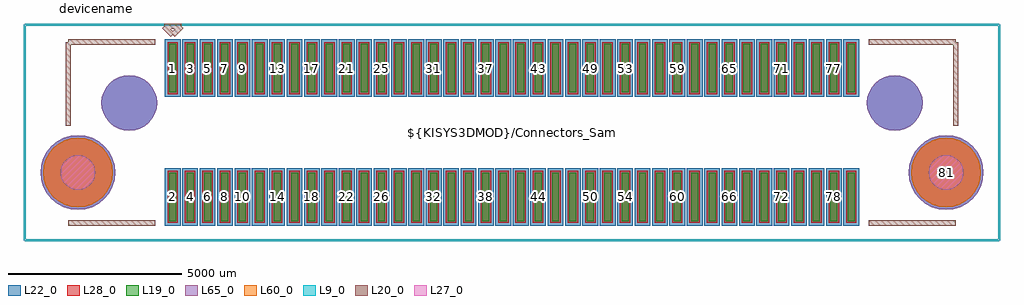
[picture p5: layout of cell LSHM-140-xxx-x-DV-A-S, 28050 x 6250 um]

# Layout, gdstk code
import gdstk
lib = gdstk.Library(unit=1e-6, precision=1e-09)
def R(c, l, rs):  # rectangles x0, y0, x1, y1
    for r in rs: c.add(gdstk.rectangle(r[:2], r[2:], *l))
def A(c, l, x, y, w, h, nx, ny, dx, dy):  # array of equal rectangles
    R(c, l, [(x+i*dx, y+j*dy, x+i*dx+w, y+j*dy+h) for i in range(nx) for j in range(ny)])
def P(c, l, *ps):  # polygons
    for p in ps: c.add(gdstk.Polygon(p, *l))
L9_0 = (9, 0)
L19_0 = (19, 0)
L20_0 = (20, 0)
L22_0 = (22, 0)
L27_0 = (27, 0)
L28_0 = (28, 0)
L60_0 = (60, 0)
L65_0 = (65, 0)

lshm_140_xxx_x_dv_a_s = lib.new_cell('LSHM-140-xxx-x-DV-A-S')
A(lshm_140_xxx_x_dv_a_s, L19_0, -9850, -2550, 200, 1400, 40, 2, 500, 3700)
A(lshm_140_xxx_x_dv_a_s, L22_0, -9975, -2675, 450, 1650, 40, 2, 500, 3700)
P(lshm_140_xxx_x_dv_a_s, L22_0, [(-10200,850),(-10215.372,1006.072),(-10260.896,1156.147),(-10334.824,1294.456),(-10434.315,1415.685),(-10555.544,1515.176),(-10693.853,1589.104),(-10843.928,1634.628),(-11000,1650),(-11156.072,1634.628),(-11306.147,1589.104),(-11444.456,1515.176),(-11565.685,1415.685),(-11665.176,1294.456),(-11739.104,1156.147),(-11784.628,1006.072),(-11800,850),(-11784.628,693.928),(-11739.104,543.853),(-11665.176,405.544),(-11565.685,284.315),(-11444.456,184.824),(-11306.147,110.896),(-11156.072,65.372),(-11000,50),(-10843.928,65.372),(-10693.853,110.896),(-10555.544,184.824),(-10434.315,284.315),(-10334.824,405.544),(-10260.896,543.853),(-10215.372,693.928)],
  [(-11400,-1150),(-11420.656,-940.278),(-11481.83,-738.615),(-11581.17,-552.762),(-11714.86,-389.86),(-11877.762,-256.17),(-12063.615,-156.83),(-12265.278,-95.656),(-12475,-75),(-12684.722,-95.656),(-12886.385,-156.83),(-13072.238,-256.17),(-13235.14,-389.86),(-13368.83,-552.762),(-13468.17,-738.615),(-13529.344,-940.278),(-13550,-1150),(-13529.344,-1359.722),(-13468.17,-1561.385),(-13368.83,-1747.238),(-13235.14,-1910.14),(-13072.238,-2043.83),(-12886.385,-2143.17),(-12684.722,-2204.344),(-12475,-2225),(-12265.278,-2204.344),(-12063.615,-2143.17),(-11877.762,-2043.83),(-11714.86,-1910.14),(-11581.17,-1747.238),(-11481.83,-1561.385),(-11420.656,-1359.722)],
  [(13550,-1150),(13529.344,-940.278),(13468.17,-738.615),(13368.83,-552.762),(13235.14,-389.86),(13072.238,-256.17),(12886.385,-156.83),(12684.722,-95.656),(12475,-75),(12265.278,-95.656),(12063.615,-156.83),(11877.762,-256.17),(11714.86,-389.86),(11581.17,-552.762),(11481.83,-738.615),(11420.656,-940.278),(11400,-1150),(11420.656,-1359.722),(11481.83,-1561.385),(11581.17,-1747.238),(11714.86,-1910.14),(11877.762,-2043.83),(12063.615,-2143.17),(12265.278,-2204.344),(12475,-2225),(12684.722,-2204.344),(12886.385,-2143.17),(13072.238,-2043.83),(13235.14,-1910.14),(13368.83,-1747.238),(13468.17,-1561.385),(13529.344,-1359.722)],
  [(11800,850),(11784.628,1006.072),(11739.104,1156.147),(11665.176,1294.456),(11565.685,1415.685),(11444.456,1515.176),(11306.147,1589.104),(11156.072,1634.628),(11000,1650),(10843.928,1634.628),(10693.853,1589.104),(10555.544,1515.176),(10434.315,1415.685),(10334.824,1294.456),(10260.896,1156.147),(10215.372,1006.072),(10200,850),(10215.372,693.928),(10260.896,543.853),(10334.824,405.544),(10434.315,284.315),(10555.544,184.824),(10693.853,110.896),(10843.928,65.372),(11000,50),(11156.072,65.372),(11306.147,110.896),(11444.456,184.824),(11565.685,284.315),(11665.176,405.544),(11739.104,543.853),(11784.628,693.928)])
P(lshm_140_xxx_x_dv_a_s, L27_0, [(-11975.001,-1150),(-11984.608,-1052.455),(-12013.061,-958.659),(-12059.266,-872.215),(-12121.447,-796.447),(-12197.215,-734.266),(-12283.659,-688.061),(-12377.455,-659.608),(-12475,-650.001),(-12572.545,-659.608),(-12666.341,-688.061),(-12752.785,-734.266),(-12828.553,-796.447),(-12890.734,-872.215),(-12936.939,-958.659),(-12965.392,-1052.455),(-12974.999,-1150),(-12965.392,-1247.545),(-12936.939,-1341.341),(-12890.734,-1427.785),(-12828.553,-1503.553),(-12752.785,-1565.734),(-12666.341,-1611.939),(-12572.545,-1640.392),(-12475,-1649.999),(-12377.455,-1640.392),(-12283.659,-1611.939),(-12197.215,-1565.734),(-12121.447,-1503.553),(-12059.266,-1427.785),(-12013.061,-1341.341),(-11984.608,-1247.545)],
  [(12974.999,-1150),(12965.392,-1052.455),(12936.939,-958.659),(12890.734,-872.215),(12828.553,-796.447),(12752.785,-734.266),(12666.341,-688.061),(12572.545,-659.608),(12475,-650.001),(12377.455,-659.608),(12283.659,-688.061),(12197.215,-734.266),(12121.447,-796.447),(12059.266,-872.215),(12013.061,-958.659),(11984.608,-1052.455),(11975.001,-1150),(11984.608,-1247.545),(12013.061,-1341.341),(12059.266,-1427.785),(12121.447,-1503.553),(12197.215,-1565.734),(12283.659,-1611.939),(12377.455,-1640.392),(12475,-1649.999),(12572.545,-1640.392),(12666.341,-1611.939),(12752.785,-1565.734),(12828.553,-1503.553),(12890.734,-1427.785),(12936.939,-1341.341),(12965.392,-1247.545)])
A(lshm_140_xxx_x_dv_a_s, L28_0, -9900, -2600, 300, 1500, 40, 2, 500, 3700)
P(lshm_140_xxx_x_dv_a_s, L28_0, [(-11475,-1150),(-11494.215,-954.91),(-11551.12,-767.317),(-11643.53,-594.43),(-11767.893,-442.893),(-11919.43,-318.53),(-12092.317,-226.12),(-12279.91,-169.215),(-12475,-150),(-12670.09,-169.215),(-12857.683,-226.12),(-13030.57,-318.53),(-13182.107,-442.893),(-13306.47,-594.43),(-13398.88,-767.317),(-13455.785,-954.91),(-13475,-1150),(-13455.785,-1345.09),(-13398.88,-1532.683),(-13306.47,-1705.57),(-13182.107,-1857.107),(-13030.57,-1981.47),(-12857.683,-2073.88),(-12670.09,-2130.785),(-12475,-2150),(-12279.91,-2130.785),(-12092.317,-2073.88),(-11919.43,-1981.47),(-11767.893,-1857.107),(-11643.53,-1705.57),(-11551.12,-1532.683),(-11494.215,-1345.09)],
  [(13475,-1150),(13455.785,-954.91),(13398.88,-767.317),(13306.47,-594.43),(13182.107,-442.893),(13030.57,-318.53),(12857.683,-226.12),(12670.09,-169.215),(12475,-150),(12279.91,-169.215),(12092.317,-226.12),(11919.43,-318.53),(11767.893,-442.893),(11643.53,-594.43),(11551.12,-767.317),(11494.215,-954.91),(11475,-1150),(11494.215,-1345.09),(11551.12,-1532.683),(11643.53,-1705.57),(11767.893,-1857.107),(11919.43,-1981.47),(12092.317,-2073.88),(12279.91,-2130.785),(12475,-2150),(12670.09,-2130.785),(12857.683,-2073.88),(13030.57,-1981.47),(13182.107,-1857.107),(13306.47,-1705.57),(13398.88,-1532.683),(13455.785,-1345.09)])
P(lshm_140_xxx_x_dv_a_s, L60_0, [(-11475,-1150),(-11494.215,-954.91),(-11551.12,-767.317),(-11643.53,-594.43),(-11767.893,-442.893),(-11919.43,-318.53),(-12092.317,-226.12),(-12279.91,-169.215),(-12475,-150),(-12670.09,-169.215),(-12857.683,-226.12),(-13030.57,-318.53),(-13182.107,-442.893),(-13306.47,-594.43),(-13398.88,-767.317),(-13455.785,-954.91),(-13475,-1150),(-13455.785,-1345.09),(-13398.88,-1532.683),(-13306.47,-1705.57),(-13182.107,-1857.107),(-13030.57,-1981.47),(-12857.683,-2073.88),(-12670.09,-2130.785),(-12475,-2150),(-12279.91,-2130.785),(-12092.317,-2073.88),(-11919.43,-1981.47),(-11767.893,-1857.107),(-11643.53,-1705.57),(-11551.12,-1532.683),(-11494.215,-1345.09)],
  [(13475,-1150),(13455.785,-954.91),(13398.88,-767.317),(13306.47,-594.43),(13182.107,-442.893),(13030.57,-318.53),(12857.683,-226.12),(12670.09,-169.215),(12475,-150),(12279.91,-169.215),(12092.317,-226.12),(11919.43,-318.53),(11767.893,-442.893),(11643.53,-594.43),(11551.12,-767.317),(11494.215,-954.91),(11475,-1150),(11494.215,-1345.09),(11551.12,-1532.683),(11643.53,-1705.57),(11767.893,-1857.107),(11919.43,-1981.47),(12092.317,-2073.88),(12279.91,-2130.785),(12475,-2150),(12670.09,-2130.785),(12857.683,-2073.88),(13030.57,-1981.47),(13182.107,-1857.107),(13306.47,-1705.57),(13398.88,-1532.683),(13455.785,-1345.09)])
P(lshm_140_xxx_x_dv_a_s, L65_0, [(-10200,850),(-10215.372,1006.072),(-10260.896,1156.147),(-10334.824,1294.456),(-10434.315,1415.685),(-10555.544,1515.176),(-10693.853,1589.104),(-10843.928,1634.628),(-11000,1650),(-11156.072,1634.628),(-11306.147,1589.104),(-11444.456,1515.176),(-11565.685,1415.685),(-11665.176,1294.456),(-11739.104,1156.147),(-11784.628,1006.072),(-11800,850),(-11784.628,693.928),(-11739.104,543.853),(-11665.176,405.544),(-11565.685,284.315),(-11444.456,184.824),(-11306.147,110.896),(-11156.072,65.372),(-11000,50),(-10843.928,65.372),(-10693.853,110.896),(-10555.544,184.824),(-10434.315,284.315),(-10334.824,405.544),(-10260.896,543.853),(-10215.372,693.928)],
  [(-11400,-1150),(-11420.656,-940.278),(-11481.83,-738.615),(-11581.17,-552.762),(-11714.86,-389.86),(-11877.762,-256.17),(-12063.615,-156.83),(-12265.278,-95.656),(-12475,-75),(-12684.722,-95.656),(-12886.385,-156.83),(-13072.238,-256.17),(-13235.14,-389.86),(-13368.83,-552.762),(-13468.17,-738.615),(-13529.344,-940.278),(-13550,-1150),(-13529.344,-1359.722),(-13468.17,-1561.385),(-13368.83,-1747.238),(-13235.14,-1910.14),(-13072.238,-2043.83),(-12886.385,-2143.17),(-12684.722,-2204.344),(-12475,-2225),(-12265.278,-2204.344),(-12063.615,-2143.17),(-11877.762,-2043.83),(-11714.86,-1910.14),(-11581.17,-1747.238),(-11481.83,-1561.385),(-11420.656,-1359.722)],
  [(13550,-1150),(13529.344,-940.278),(13468.17,-738.615),(13368.83,-552.762),(13235.14,-389.86),(13072.238,-256.17),(12886.385,-156.83),(12684.722,-95.656),(12475,-75),(12265.278,-95.656),(12063.615,-156.83),(11877.762,-256.17),(11714.86,-389.86),(11581.17,-552.762),(11481.83,-738.615),(11420.656,-940.278),(11400,-1150),(11420.656,-1359.722),(11481.83,-1561.385),(11581.17,-1747.238),(11714.86,-1910.14),(11877.762,-2043.83),(12063.615,-2143.17),(12265.278,-2204.344),(12475,-2225),(12684.722,-2204.344),(12886.385,-2143.17),(13072.238,-2043.83),(13235.14,-1910.14),(13368.83,-1747.238),(13468.17,-1561.385),(13529.344,-1359.722)],
  [(11800,850),(11784.628,1006.072),(11739.104,1156.147),(11665.176,1294.456),(11565.685,1415.685),(11444.456,1515.176),(11306.147,1589.104),(11156.072,1634.628),(11000,1650),(10843.928,1634.628),(10693.853,1589.104),(10555.544,1515.176),(10434.315,1415.685),(10334.824,1294.456),(10260.896,1156.147),(10215.372,1006.072),(10200,850),(10215.372,693.928),(10260.896,543.853),(10334.824,405.544),(10434.315,284.315),(10555.544,184.824),(10693.853,110.896),(10843.928,65.372),(11000,50),(11156.072,65.372),(11306.147,110.896),(11444.456,184.824),(11565.685,284.315),(11665.176,405.544),(11739.104,543.853),(11784.628,693.928)])
lshm_140_xxx_x_dv_a_s.add(gdstk.FlexPath([(-9750,2800),(-9500,3050)], 149.998, ends="flush", simple_path=True, layer=20, datatype=0))  # L20_0
lshm_140_xxx_x_dv_a_s.add(gdstk.FlexPath([(-9500,3050),(-10000,3050)], 149.998, ends="flush", simple_path=True, layer=20, datatype=0))  # L20_0
lshm_140_xxx_x_dv_a_s.add(gdstk.FlexPath([(-10000,3050),(-9750,2800)], 149.998, ends="flush", simple_path=True, layer=20, datatype=0))  # L20_0
lshm_140_xxx_x_dv_a_s.add(gdstk.FlexPath([(14000,-3100),(14000,3100)], 50, ends="flush", simple_path=True, layer=9, datatype=0))  # L9_0
lshm_140_xxx_x_dv_a_s.add(gdstk.FlexPath([(-14000,-3100),(-14000,3100)], 50, ends="flush", simple_path=True, layer=9, datatype=0))  # L9_0
lshm_140_xxx_x_dv_a_s.add(gdstk.FlexPath([(-14000,3100),(14000,3100)], 50, ends="flush", simple_path=True, layer=9, datatype=0))  # L9_0
lshm_140_xxx_x_dv_a_s.add(gdstk.FlexPath([(-14000,-3100),(14000,-3100)], 50, ends="flush", simple_path=True, layer=9, datatype=0))  # L9_0
lshm_140_xxx_x_dv_a_s.add(gdstk.FlexPath([(12750,-2600),(10250,-2600)], 149.998, ends="flush", simple_path=True, layer=20, datatype=0))  # L20_0
lshm_140_xxx_x_dv_a_s.add(gdstk.FlexPath([(-12750,-2600),(-10250,-2600)], 149.998, ends="flush", simple_path=True, layer=20, datatype=0))  # L20_0
lshm_140_xxx_x_dv_a_s.add(gdstk.FlexPath([(12750,200),(12750,2600)], 149.998, ends="flush", simple_path=True, layer=20, datatype=0))  # L20_0
lshm_140_xxx_x_dv_a_s.add(gdstk.FlexPath([(12750,2600),(10250,2600)], 149.998, ends="flush", simple_path=True, layer=20, datatype=0))  # L20_0
lshm_140_xxx_x_dv_a_s.add(gdstk.FlexPath([(-12750,2600),(-10250,2600)], 149.998, ends="flush", simple_path=True, layer=20, datatype=0))  # L20_0
lshm_140_xxx_x_dv_a_s.add(gdstk.FlexPath([(-12750,200),(-12750,2600)], 149.998, ends="flush", simple_path=True, layer=20, datatype=0))  # L20_0
lshm_140_xxx_x_dv_a_s.add(gdstk.Label('${KISYS3DMOD}/Connectors_Samtec.3dshapes/LSHM-140-xxx-x-DV-A-S.wrl', (0,0), layer=12, texttype=0))
lshm_140_xxx_x_dv_a_s.add(gdstk.Label('2', (-9750,-1850), layer=28, texttype=0))
lshm_140_xxx_x_dv_a_s.add(gdstk.Label('1', (-9750,1850), layer=28, texttype=0))
lshm_140_xxx_x_dv_a_s.add(gdstk.Label('3', (-9250,1850), layer=28, texttype=0))
lshm_140_xxx_x_dv_a_s.add(gdstk.Label('4', (-9250,-1850), layer=28, texttype=0))
lshm_140_xxx_x_dv_a_s.add(gdstk.Label('8', (-8250,-1850), layer=28, texttype=0))
lshm_140_xxx_x_dv_a_s.add(gdstk.Label('7', (-8250,1850), layer=28, texttype=0))
lshm_140_xxx_x_dv_a_s.add(gdstk.Label('5', (-8750,1850), layer=28, texttype=0))
lshm_140_xxx_x_dv_a_s.add(gdstk.Label('6', (-8750,-1850), layer=28, texttype=0))
lshm_140_xxx_x_dv_a_s.add(gdstk.Label('14', (-6750,-1850), layer=28, texttype=0))
lshm_140_xxx_x_dv_a_s.add(gdstk.Label('13', (-6750,1850), layer=28, texttype=0))
lshm_140_xxx_x_dv_a_s.add(gdstk.Label('15', (-6250,1850), layer=28, texttype=0))
lshm_140_xxx_x_dv_a_s.add(gdstk.Label('16', (-6250,-1850), layer=28, texttype=0))
lshm_140_xxx_x_dv_a_s.add(gdstk.Label('12', (-7250,-1850), layer=28, texttype=0))
lshm_140_xxx_x_dv_a_s.add(gdstk.Label('11', (-7250,1850), layer=28, texttype=0))
lshm_140_xxx_x_dv_a_s.add(gdstk.Label('9', (-7750,1850), layer=28, texttype=0))
lshm_140_xxx_x_dv_a_s.add(gdstk.Label('10', (-7750,-1850), layer=28, texttype=0))
lshm_140_xxx_x_dv_a_s.add(gdstk.Label('26', (-3750,-1850), layer=28, texttype=0))
lshm_140_xxx_x_dv_a_s.add(gdstk.Label('25', (-3750,1850), layer=28, texttype=0))
lshm_140_xxx_x_dv_a_s.add(gdstk.Label('27', (-3250,1850), layer=28, texttype=0))
lshm_140_xxx_x_dv_a_s.add(gdstk.Label('28', (-3250,-1850), layer=28, texttype=0))
lshm_140_xxx_x_dv_a_s.add(gdstk.Label('32', (-2250,-1850), layer=28, texttype=0))
lshm_140_xxx_x_dv_a_s.add(gdstk.Label('31', (-2250,1850), layer=28, texttype=0))
lshm_140_xxx_x_dv_a_s.add(gdstk.Label('29', (-2750,1850), layer=28, texttype=0))
lshm_140_xxx_x_dv_a_s.add(gdstk.Label('30', (-2750,-1850), layer=28, texttype=0))
lshm_140_xxx_x_dv_a_s.add(gdstk.Label('22', (-4750,-1850), layer=28, texttype=0))
lshm_140_xxx_x_dv_a_s.add(gdstk.Label('21', (-4750,1850), layer=28, texttype=0))
lshm_140_xxx_x_dv_a_s.add(gdstk.Label('23', (-4250,1850), layer=28, texttype=0))
lshm_140_xxx_x_dv_a_s.add(gdstk.Label('24', (-4250,-1850), layer=28, texttype=0))
lshm_140_xxx_x_dv_a_s.add(gdstk.Label('20', (-5250,-1850), layer=28, texttype=0))
lshm_140_xxx_x_dv_a_s.add(gdstk.Label('19', (-5250,1850), layer=28, texttype=0))
lshm_140_xxx_x_dv_a_s.add(gdstk.Label('17', (-5750,1850), layer=28, texttype=0))
lshm_140_xxx_x_dv_a_s.add(gdstk.Label('18', (-5750,-1850), layer=28, texttype=0))
lshm_140_xxx_x_dv_a_s.add(gdstk.Label('38', (-750,-1850), layer=28, texttype=0))
lshm_140_xxx_x_dv_a_s.add(gdstk.Label('37', (-750,1850), layer=28, texttype=0))
lshm_140_xxx_x_dv_a_s.add(gdstk.Label('39', (-250,1850), layer=28, texttype=0))
lshm_140_xxx_x_dv_a_s.add(gdstk.Label('40', (-250,-1850), layer=28, texttype=0))
lshm_140_xxx_x_dv_a_s.add(gdstk.Label('36', (-1250,-1850), layer=28, texttype=0))
lshm_140_xxx_x_dv_a_s.add(gdstk.Label('35', (-1250,1850), layer=28, texttype=0))
lshm_140_xxx_x_dv_a_s.add(gdstk.Label('33', (-1750,1850), layer=28, texttype=0))
lshm_140_xxx_x_dv_a_s.add(gdstk.Label('34', (-1750,-1850), layer=28, texttype=0))
lshm_140_xxx_x_dv_a_s.add(gdstk.Label('54', (3250,-1850), layer=28, texttype=0))
lshm_140_xxx_x_dv_a_s.add(gdstk.Label('53', (3250,1850), layer=28, texttype=0))
lshm_140_xxx_x_dv_a_s.add(gdstk.Label('55', (3750,1850), layer=28, texttype=0))
lshm_140_xxx_x_dv_a_s.add(gdstk.Label('56', (3750,-1850), layer=28, texttype=0))
lshm_140_xxx_x_dv_a_s.add(gdstk.Label('60', (4750,-1850), layer=28, texttype=0))
lshm_140_xxx_x_dv_a_s.add(gdstk.Label('59', (4750,1850), layer=28, texttype=0))
lshm_140_xxx_x_dv_a_s.add(gdstk.Label('57', (4250,1850), layer=28, texttype=0))
lshm_140_xxx_x_dv_a_s.add(gdstk.Label('58', (4250,-1850), layer=28, texttype=0))
lshm_140_xxx_x_dv_a_s.add(gdstk.Label('44', (750,-1850), layer=28, texttype=0))
lshm_140_xxx_x_dv_a_s.add(gdstk.Label('43', (750,1850), layer=28, texttype=0))
lshm_140_xxx_x_dv_a_s.add(gdstk.Label('41', (250,1850), layer=28, texttype=0))
lshm_140_xxx_x_dv_a_s.add(gdstk.Label('42', (250,-1850), layer=28, texttype=0))
lshm_140_xxx_x_dv_a_s.add(gdstk.Label('50', (2250,-1850), layer=28, texttype=0))
lshm_140_xxx_x_dv_a_s.add(gdstk.Label('49', (2250,1850), layer=28, texttype=0))
lshm_140_xxx_x_dv_a_s.add(gdstk.Label('51', (2750,1850), layer=28, texttype=0))
lshm_140_xxx_x_dv_a_s.add(gdstk.Label('52', (2750,-1850), layer=28, texttype=0))
lshm_140_xxx_x_dv_a_s.add(gdstk.Label('48', (1750,-1850), layer=28, texttype=0))
lshm_140_xxx_x_dv_a_s.add(gdstk.Label('47', (1750,1850), layer=28, texttype=0))
lshm_140_xxx_x_dv_a_s.add(gdstk.Label('45', (1250,1850), layer=28, texttype=0))
lshm_140_xxx_x_dv_a_s.add(gdstk.Label('46', (1250,-1850), layer=28, texttype=0))
lshm_140_xxx_x_dv_a_s.add(gdstk.Label('81', (12475,-1150), layer=28, texttype=0))
lshm_140_xxx_x_dv_a_s.add(gdstk.Label('66', (6250,-1850), layer=28, texttype=0))
lshm_140_xxx_x_dv_a_s.add(gdstk.Label('65', (6250,1850), layer=28, texttype=0))
lshm_140_xxx_x_dv_a_s.add(gdstk.Label('67', (6750,1850), layer=28, texttype=0))
lshm_140_xxx_x_dv_a_s.add(gdstk.Label('68', (6750,-1850), layer=28, texttype=0))
lshm_140_xxx_x_dv_a_s.add(gdstk.Label('72', (7750,-1850), layer=28, texttype=0))
lshm_140_xxx_x_dv_a_s.add(gdstk.Label('71', (7750,1850), layer=28, texttype=0))
lshm_140_xxx_x_dv_a_s.add(gdstk.Label('69', (7250,1850), layer=28, texttype=0))
lshm_140_xxx_x_dv_a_s.add(gdstk.Label('70', (7250,-1850), layer=28, texttype=0))
lshm_140_xxx_x_dv_a_s.add(gdstk.Label('62', (5250,-1850), layer=28, texttype=0))
lshm_140_xxx_x_dv_a_s.add(gdstk.Label('61', (5250,1850), layer=28, texttype=0))
lshm_140_xxx_x_dv_a_s.add(gdstk.Label('63', (5750,1850), layer=28, texttype=0))
lshm_140_xxx_x_dv_a_s.add(gdstk.Label('64', (5750,-1850), layer=28, texttype=0))
lshm_140_xxx_x_dv_a_s.add(gdstk.Label('78', (9250,-1850), layer=28, texttype=0))
lshm_140_xxx_x_dv_a_s.add(gdstk.Label('77', (9250,1850), layer=28, texttype=0))
lshm_140_xxx_x_dv_a_s.add(gdstk.Label('79', (9750,1850), layer=28, texttype=0))
lshm_140_xxx_x_dv_a_s.add(gdstk.Label('80', (9750,-1850), layer=28, texttype=0))
lshm_140_xxx_x_dv_a_s.add(gdstk.Label('76', (8750,-1850), layer=28, texttype=0))
lshm_140_xxx_x_dv_a_s.add(gdstk.Label('75', (8750,1850), layer=28, texttype=0))
lshm_140_xxx_x_dv_a_s.add(gdstk.Label('73', (8250,1850), layer=28, texttype=0))
lshm_140_xxx_x_dv_a_s.add(gdstk.Label('74', (8250,-1850), layer=28, texttype=0))
lshm_140_xxx_x_dv_a_s.add(gdstk.Label('type', (0,-4250), layer=9, texttype=0))
lshm_140_xxx_x_dv_a_s.add(gdstk.Label('devicename', (-11950,3650), layer=9, texttype=0))

lib.write_gds('LSHM-140-xxx-x-DV-A-S.gds')
